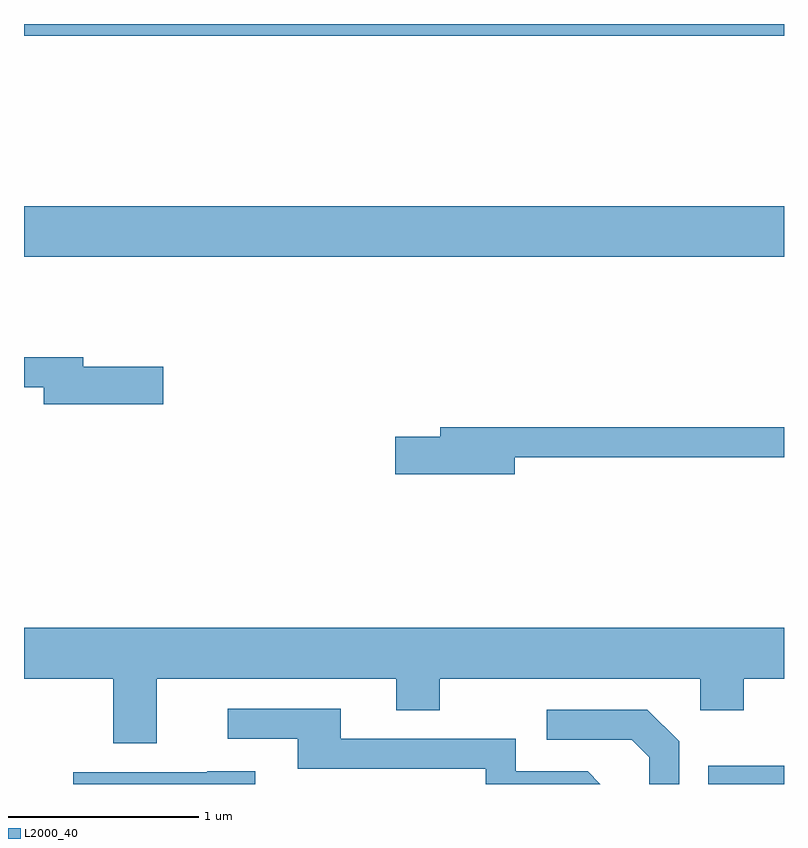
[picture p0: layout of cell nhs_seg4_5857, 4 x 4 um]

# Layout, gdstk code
import gdstk
lib = gdstk.Library(unit=1e-6, precision=1e-09)
def R(c, l, rs):  # rectangles x0, y0, x1, y1
    for r in rs: c.add(gdstk.rectangle(r[:2], r[2:], *l))
def P(c, l, *ps):  # polygons
    for p in ps: c.add(gdstk.Polygon(p, *l))
L2000_40 = (2000, 40)

nhs_seg4_5857 = lib.new_cell('nhs_seg4_5857')
R(nhs_seg4_5857, L2000_40, [(361.211,1271.982,361.611,1272.079), (357.611,1274.756,361.611,1275.024), (357.611,1275.921,361.611,1275.982)])
P(nhs_seg4_5857, L2000_40, [(358.344,1274.179),(357.924,1274.179),(357.924,1274.229),(357.611,1274.229),(357.611,1274.071),(357.716,1274.071),(357.716,1273.981),(358.344,1273.981)],
  [(360.194,1273.701),(361.611,1273.701),(361.611,1273.859),(359.801,1273.859),(359.801,1273.809),(359.566,1273.809),(359.566,1273.611),(360.194,1273.611)],
  [(358.309,1272.536),(359.571,1272.536),(359.571,1272.371),(359.799,1272.371),(359.799,1272.536),(361.171,1272.536),(361.171,1272.371),(361.399,1272.371),(361.399,1272.536),(361.611,1272.536),(361.611,1272.804),(357.611,1272.804),(357.611,1272.536),(358.081,1272.536),(358.081,1272.196),(358.309,1272.196)],
  [(360.577,1272.049),(360.199,1272.049),(360.199,1272.219),(359.279,1272.219),(359.279,1272.379),(358.683,1272.379),(358.683,1272.221),(359.051,1272.221),(359.051,1272.061),(360.041,1272.061),(360.041,1271.982),(360.644,1271.982)],
  [(361.059,1272.207),(360.892,1272.374),(360.363,1272.374),(360.363,1272.216),(360.809,1272.216),(360.901,1272.124),(360.901,1271.982),(361.059,1271.982)],
  [(358.829,1272.049),(358.575,1272.049),(358.575,1272.044),(357.871,1272.044),(357.871,1271.982),(358.829,1271.982)])

lib.write_gds('nhs_seg4_5857.gds')
